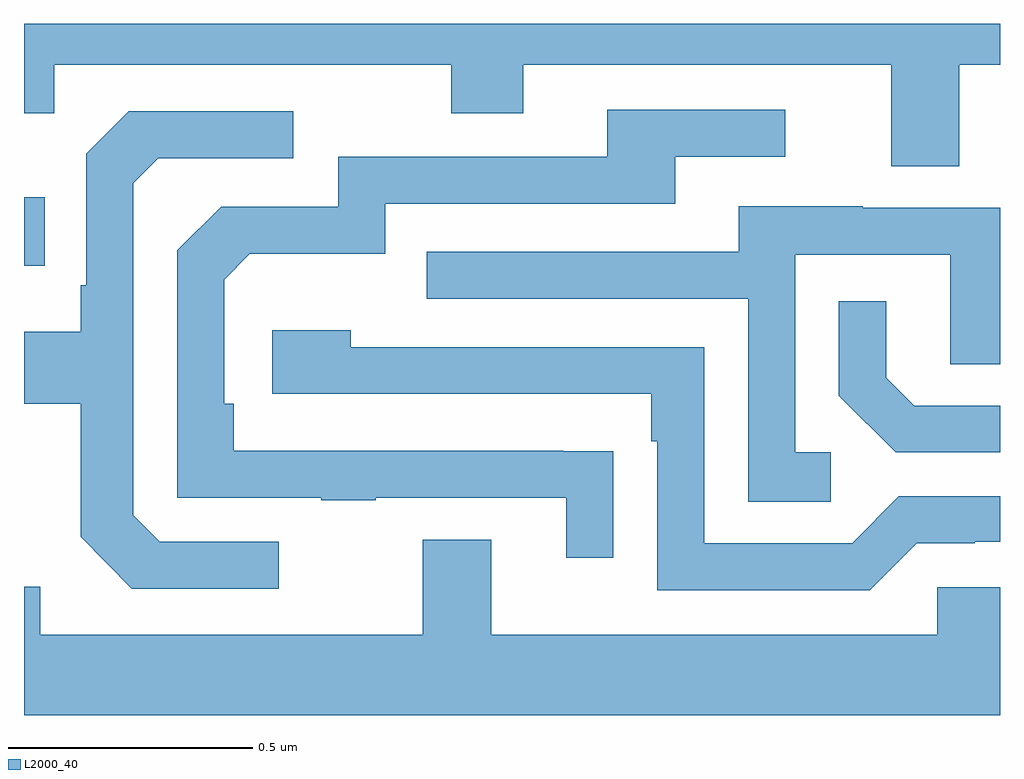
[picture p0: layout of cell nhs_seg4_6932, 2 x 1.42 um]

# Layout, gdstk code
import gdstk
lib = gdstk.Library(unit=1e-6, precision=1e-09)
def R(c, l, rs):  # rectangles x0, y0, x1, y1
    for r in rs: c.add(gdstk.rectangle(r[:2], r[2:], *l))
def P(c, l, *ps):  # polygons
    for p in ps: c.add(gdstk.Polygon(p, *l))
L2000_40 = (2000, 40)

nhs_seg4_6932 = lib.new_cell('nhs_seg4_6932')
R(nhs_seg4_6932, L2000_40, [(196,800.405,196.043,800.545)])
P(nhs_seg4_6932, L2000_40, [(197.917,800.816),(198,800.816),(198,800.9),(196,800.9),(196,800.717),(196.062,800.717),(196.062,800.816),(196.876,800.816),(196.876,800.717),(197.023,800.717),(197.023,800.816),(197.777,800.816),(197.777,800.608),(197.917,800.608)],
  [(197.207,800.024),(197.105,800.024),(197.105,800.025),(196.43,800.025),(196.43,800.122),(196.41,800.122),(196.41,800.376),(196.463,800.429),(196.74,800.429),(196.74,800.532),(197.335,800.532),(197.335,800.628),(197.56,800.628),(197.56,800.724),(197.195,800.724),(197.195,800.628),(196.644,800.628),(196.644,800.526),(196.404,800.526),(196.314,800.436),(196.314,799.929),(196.609,799.929),(196.609,799.924),(196.721,799.924),(196.721,799.929),(197.111,799.929),(197.111,799.806),(197.207,799.806)],
  [(196.522,799.839),(196.278,799.839),(196.224,799.893),(196.224,800.574),(196.275,800.625),(196.552,800.625),(196.552,800.721),(196.215,800.721),(196.128,800.634),(196.128,800.365),(196.116,800.365),(196.116,800.269),(196,800.269),(196,800.122),(196.116,800.122),(196.116,799.849),(196.221,799.743),(196.522,799.743)],
  [(197.653,800.022),(197.58,800.022),(197.58,800.427),(197.898,800.427),(197.898,800.203),(198,800.203),(198,800.523),(197.719,800.523),(197.719,800.527),(197.465,800.527),(197.465,800.433),(196.825,800.433),(196.825,800.337),(197.484,800.337),(197.484,799.921),(197.653,799.921)],
  [(198,800.118),(197.824,800.118),(197.767,800.175),(197.767,800.332),(197.67,800.332),(197.67,800.138),(197.786,800.022),(198,800.022)],
  [(197.829,799.836),(197.948,799.836),(197.948,799.839),(198,799.839),(198,799.932),(197.793,799.932),(197.697,799.836),(197.394,799.836),(197.394,800.238),(196.67,800.238),(196.67,800.272),(196.509,800.272),(196.509,800.142),(197.285,800.142),(197.285,800.045),(197.298,800.045),(197.298,799.74),(197.733,799.74)],
  [(198,799.746),(197.871,799.746),(197.871,799.648),(196.957,799.648),(196.957,799.843),(196.817,799.843),(196.817,799.648),(196.033,799.648),(196.033,799.747),(196,799.747),(196,799.484),(198,799.484)])

lib.write_gds('nhs_seg4_6932.gds')
